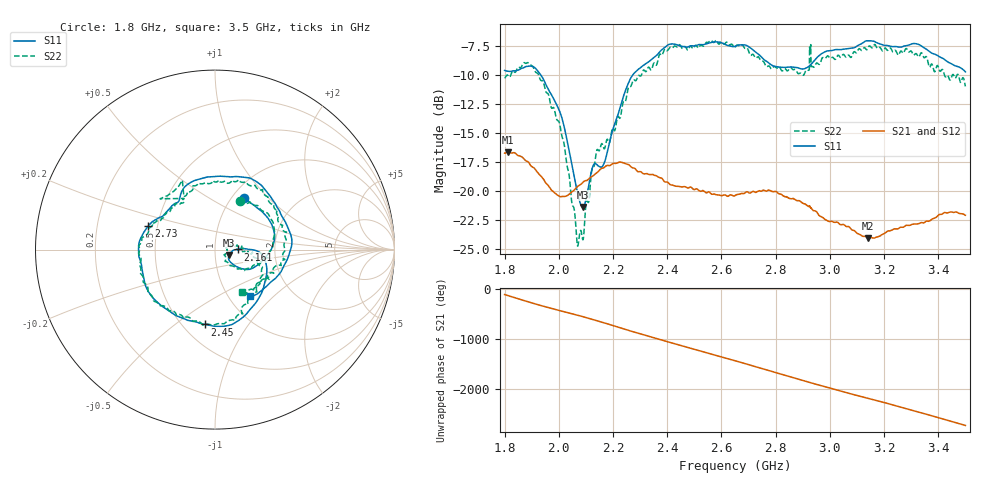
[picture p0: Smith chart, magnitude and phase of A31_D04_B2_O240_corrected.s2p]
! Created with skrf 1.9.0 (http://scikit-rf.org).
# Hz S RI R 50.0
!freq ReS11 ImS11 ReS21 ImS21 ReS12 ImS12 ReS22 ImS22
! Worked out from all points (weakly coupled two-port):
!   1601 points, 1.8 GHz to 3.5 GHz, reference 50 ohm
!   highest |S21| = -16.65 dB at 1.812 GHz (marker M1); lowest = -24.1 dB at 3.142 GHz (marker M2)
!   lowest |S11| = -21.4 dB at 2.09 GHz (marker M3), VSWR 1.19, Z = 58.6 - j3.48 ohm
!   |S11| at or under -10 dB: 1.933 GHz to 2.273 GHz (339.6 MHz wide, 16.1 % of centre)
!   |S22| runs from -24.7 to -7.0 dB; largest |S21 - S12| = 0.0023
!   S11 on the Smith chart (normalised r, x): 1.8 GHz: 1.14, +0.73; 2.161 GHz: 1.29, +0.00; 2.45 GHz: 0.64, -0.65; 2.73 GHz: 0.45, +0.14; 3.5 GHz: 1.25, -0.73
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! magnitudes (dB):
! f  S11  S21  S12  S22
! 1.8 GHz  -9.6  -16.7  -16.7  -10.3
! 1.812 GHz  -9.7  -16.7  -16.7  -10.0
! 1.883 GHz  -9.3  -17.4  -17.5  -9.0
! 1.942 GHz  -10.3  -18.9  -18.9  -10.6
! 2.007 GHz  -13.4  -20.5  -20.4  -14.7
! 2.067 GHz  -19.9  -19.6  -19.7  -24.4
! 2.084 GHz  -21.3  -19.4  -19.3  -23.6
! 2.09 GHz  -21.4  -19.2  -19.3  -24.1
! 2.128 GHz  -17.7  -18.7  -18.6  -18.0
! 2.161 GHz  -17.9  -18.0  -18.0  -16.0
! 2.189 GHz  -15.6  -17.8  -17.8  -15.7
! 2.263 GHz  -10.4  -17.8  -17.8  -11.0
! 2.367 GHz  -8.2  -18.8  -18.7  -8.5
! 2.45 GHz  -7.5  -19.6  -19.6  -7.5
! 2.65 GHz  -7.5  -20.4  -20.4  -7.6
! 2.73 GHz  -8.1  -20.1  -20.1  -8.5
! 2.898 GHz  -9.5  -21.0  -21.0  -10.0
! 2.934 GHz  -9.0  -21.6  -21.5  -9.3
! 3.142 GHz  -7.1  -24.1  -24.0  -7.6
! 3.217 GHz  -7.5  -23.4  -23.4  -7.8
! 3.324 GHz  -7.3  -22.8  -22.8  -8.3
! 3.5 GHz  -9.7  -22.1  -22.1  -11.0
